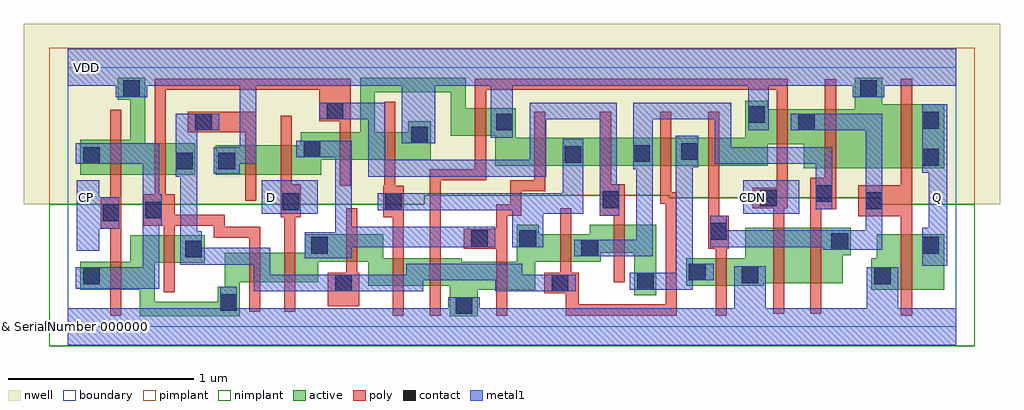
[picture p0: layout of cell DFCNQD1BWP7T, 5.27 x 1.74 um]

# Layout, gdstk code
import gdstk
lib = gdstk.Library(unit=1e-6, precision=1e-09)
def R(c, l, rs):  # rectangles x0, y0, x1, y1
    for r in rs: c.add(gdstk.rectangle(r[:2], r[2:], *l))
def P(c, l, *ps):  # polygons
    for p in ps: c.add(gdstk.Polygon(p, *l))
nwell = (3, 0)
active = (6, 0)
poly = (17, 0)
pimplant = (25, 0)
nimplant = (26, 0)
contact = (30, 0)
metal1 = (31, 0)
boundary = (108, 0)

dfcnqd1bwp7t = lib.new_cell('DFCNQD1BWP7T')
P(dfcnqd1bwp7t, nwell, [(-0.235,0.66),(-0.235,1.635),(5.035,1.635),(5.035,0.66),(4.385,0.66),(4.385,0.695),(3.25,0.695),(3.25,0.71),(1.925,0.71),(1.925,0.66)])
P(dfcnqd1bwp7t, active, [(3.34,0.22),(3.34,0.37),(3.66,0.37),(3.66,0.535),(4.23,0.535),(4.23,0.385),(4.185,0.385),(4.185,0.235),(3.76,0.235),(3.76,0.22)],
  [(4.34,0.2),(4.34,0.37),(4.37,0.37),(4.37,0.5),(4.735,0.5),(4.735,0.2)],
  [(0.8,0.82),(0.8,0.98),(1.26,0.98),(1.26,1.05),(1.58,1.05),(1.58,1.345),(2.15,1.345),(2.15,1.18),(2.42,1.18),(2.42,1.02),(3.66,1.02),(3.66,1.22),(3.78,1.22),(3.78,1.175),(4.25,1.175),(4.25,1.345),(4.4,1.345),(4.4,1.2),(4.735,1.2),(4.735,0.855),(3.975,0.855),(3.975,0.985),(3.78,0.985),(3.78,0.87),(2.31,0.87),(2.31,1.03),(2.07,1.03),(2.07,1.265),(1.66,1.265),(1.66,1.05),(1.84,1.05),(1.84,1.11),(1.96,1.11),(1.96,0.9),(1.37,0.9),(1.37,0.82)],
  [(0.39,0.055),(0.39,0.2),(0.07,0.2),(0.07,0.35),(0.34,0.35),(0.34,0.495),(0.74,0.495),(0.74,0.345),(0.47,0.345),(0.47,0.135),(0.81,0.135),(0.81,0.215),(0.85,0.215),(0.85,0.4),(1.28,0.4),(1.28,0.5),(1.705,0.5),(1.705,0.37),(2.13,0.37),(2.13,0.35),(2.425,0.35),(2.425,0.55),(2.545,0.55),(2.545,0.5),(2.82,0.5),(2.82,0.55),(3.18,0.55),(3.18,0.17),(3.06,0.17),(3.06,0.4),(2.88,0.4),(2.88,0.35),(2.525,0.35),(2.525,0.2),(2.215,0.2),(2.215,0.055),(2.065,0.055),(2.065,0.22),(1.625,0.22),(1.625,0.35),(1.355,0.35),(1.355,0.24),(0.93,0.24),(0.93,0.055)],
  [(0.07,0.82),(0.07,1.01),(0.34,1.01),(0.34,1.225),(0.27,1.225),(0.27,1.345),(0.42,1.345),(0.42,0.99),(0.69,0.99),(0.69,0.82)])
P(dfcnqd1bwp7t, poly, [(0.23,0.06),(0.23,0.53),(0.18,0.53),(0.18,0.7),(0.23,0.7),(0.23,1.17),(0.29,1.17),(0.29,0.06)],
  [(0.96,0.68),(0.96,1.05),(0.65,1.05),(0.65,1.16),(1.02,1.16),(1.02,0.68)],
  [(1.17,0.08),(1.17,0.59),(1.15,0.59),(1.15,1.14),(1.21,1.14),(1.21,0.77),(1.26,0.77),(1.26,0.59),(1.23,0.59),(1.23,0.08)],
  [(1.755,0.06),(1.755,0.59),(1.705,0.59),(1.705,0.76),(1.71,0.76),(1.71,1.215),(1.77,1.215),(1.77,0.76),(1.815,0.76),(1.815,0.06)],
  [(2.315,0.06),(2.315,0.42),(2.14,0.42),(2.14,0.53),(2.315,0.53),(2.315,0.66),(2.39,0.66),(2.39,0.79),(2.52,0.79),(2.52,1.16),(2.58,1.16),(2.58,0.73),(2.45,0.73),(2.45,0.6),(2.375,0.6),(2.375,0.06)],
  [(2.875,0.6),(2.875,1.16),(2.935,1.16),(2.935,0.77),(3.01,0.77),(3.01,0.24),(2.95,0.24),(2.95,0.6)],
  [(2.69,0.06),(2.69,0.18),(2.575,0.18),(2.575,0.29),(2.66,0.29),(2.66,0.64),(2.72,0.64),(2.72,0.29),(2.76,0.29),(2.76,0.12),(3.23,0.12),(3.23,0.665),(3.2,0.665),(3.2,1.16),(3.26,1.16),(3.26,0.725),(3.29,0.725),(3.29,0.06)],
  [(3.5,0.06),(3.5,0.42),(3.46,0.42),(3.46,1.16),(3.52,1.16),(3.52,0.6),(3.57,0.6),(3.57,0.42),(3.56,0.42),(3.56,0.06)],
  [(4.01,0.07),(4.01,0.805),(4.09,0.805),(4.09,1.335),(4.15,1.335),(4.15,0.635),(4.07,0.635),(4.07,0.07)],
  [(4.5,0.06),(4.5,0.595),(4.27,0.595),(4.27,0.765),(4.5,0.765),(4.5,1.34),(4.56,1.34),(4.56,0.06)],
  [(0.52,0.185),(0.52,0.545),(0.41,0.545),(0.41,0.715),(0.47,0.715),(0.47,1.34),(1.53,1.34),(1.53,0.76),(1.47,0.76),(1.47,1.11),(1.36,1.11),(1.36,1.28),(0.53,1.28),(0.53,0.715),(0.58,0.715),(0.58,0.605),(0.85,0.605),(0.85,0.54),(1.04,0.54),(1.04,0.08),(0.98,0.08),(0.98,0.48),(0.79,0.48),(0.79,0.545),(0.58,0.545),(0.58,0.185)],
  [(1.405,0.11),(1.405,0.29),(1.505,0.29),(1.505,0.64),(1.565,0.64),(1.565,0.29),(1.575,0.29),(1.575,0.11)],
  [(1.955,0.06),(1.955,0.85),(2.2,0.85),(2.2,1.34),(3.89,1.34),(3.89,0.64),(3.87,0.64),(3.87,0.07),(3.81,0.07),(3.81,0.64),(3.7,0.64),(3.7,0.75),(3.83,0.75),(3.83,1.28),(2.26,1.28),(2.26,0.79),(2.015,0.79),(2.015,0.06)])
P(dfcnqd1bwp7t, pimplant, [(-0.1,0.66),(-0.1,1.505),(4.9,1.505),(4.9,0.66),(4.385,0.66),(4.385,0.695),(3.25,0.695),(3.25,0.71),(1.925,0.71),(1.925,0.66)])
P(dfcnqd1bwp7t, nimplant, [(-0.1,-0.105),(-0.1,0.66),(1.925,0.66),(1.925,0.71),(3.25,0.71),(3.25,0.695),(4.385,0.695),(4.385,0.66),(4.9,0.66),(4.9,-0.105)])
R(dfcnqd1bwp7t, contact, [(2.095,0.07,2.185,0.16), (0.825,0.085,0.915,0.175), (1.445,0.19,1.535,0.28), (2.615,0.19,2.705,0.28), (3.075,0.2,3.165,0.29), (0.085,0.23,0.175,0.32), (4.355,0.23,4.445,0.32), (3.64,0.235,3.73,0.325), (3.355,0.25,3.445,0.34), (0.635,0.375,0.725,0.465), (2.775,0.38,2.865,0.47), (1.315,0.395,1.405,0.485), (4.615,0.395,4.705,0.485), (4.125,0.415,4.215,0.505), (2.18,0.43,2.27,0.52), (2.44,0.43,2.53,0.52), (3.47,0.47,3.56,0.56), (0.19,0.57,0.28,0.66), (0.42,0.585,0.51,0.675), (1.16,0.63,1.25,0.72), (1.715,0.63,1.805,0.72), (4.31,0.635,4.4,0.725), (2.89,0.64,2.98,0.73), (3.74,0.65,3.83,0.74), (4.04,0.675,4.13,0.765), (0.585,0.85,0.675,0.94), (0.815,0.85,0.905,0.94), (4.615,0.87,4.705,0.96), (0.085,0.88,0.175,0.97), (2.685,0.885,2.775,0.975), (3.055,0.89,3.145,0.98), (3.315,0.9,3.405,0.99), (1.275,0.915,1.365,1.005), (1.855,0.99,1.945,1.08), (0.69,1.06,0.78,1.15), (2.315,1.06,2.405,1.15), (3.945,1.06,4.035,1.15), (4.615,1.07,4.705,1.16), (3.675,1.1,3.765,1.19), (1.4,1.12,1.49,1.21), (0.3,1.24,0.39,1.33), (4.28,1.24,4.37,1.33)])
R(dfcnqd1bwp7t, metal1, [(1.05,0.61,1.35,0.79), (3.65,0.61,3.95,0.79)])
P(dfcnqd1bwp7t, metal1, [(0.79,0.825),(0.79,0.97),(0.93,0.97),(0.93,1.3),(0.43,1.3),(0.43,1.24),(0.26,1.24),(0.26,1.3),(0,1.3),(0,1.5),(4.8,1.5),(4.8,1.3),(4.41,1.3),(4.41,1.24),(4.24,1.24),(4.24,1.3),(3.785,1.3),(3.785,1.06),(3.675,1.06),(3.675,1.3),(2.405,1.3),(2.405,1.02),(2.285,1.02),(2.285,1.3),(1.985,1.3),(1.985,0.99),(1.805,0.99),(1.805,1.3),(1.02,1.3),(1.02,0.88),(0.93,0.88),(0.93,0.825)],
  [(0.05,0.41),(0.05,0.79),(0.17,0.79),(0.17,0.7),(0.28,0.7),(0.28,0.53),(0.17,0.53),(0.17,0.41)],
  [(0.045,0.205),(0.045,0.32),(0.405,0.32),(0.405,0.88),(0.045,0.88),(0.045,0.99),(0.495,0.99),(0.495,0.715),(0.51,0.715),(0.51,0.545),(0.495,0.545),(0.495,0.205)],
  [(1.28,0.37),(1.28,0.51),(1.445,0.51),(1.445,0.915),(1.235,0.915),(1.235,1.005),(1.535,1.005),(1.535,0.54),(2.31,0.54),(2.31,0.43),(1.535,0.43),(1.535,0.37)],
  [(2.4,0.43),(2.4,0.63),(1.675,0.63),(1.675,0.72),(2.675,0.72),(2.675,1.015),(2.785,1.015),(2.785,0.61),(2.57,0.61),(2.57,0.43)],
  [(3.035,0.2),(3.035,0.29),(3.285,0.29),(3.285,1.03),(3.405,1.03),(3.405,0.86),(3.375,0.86),(3.375,0.34),(3.49,0.34),(3.49,0.25),(3.375,0.25),(3.375,0.2)],
  [(4.615,0.33),(4.615,0.535),(4.65,0.535),(4.65,0.83),(4.615,0.83),(4.615,1.2),(4.75,1.2),(4.75,0.33)],
  [(0.61,0.335),(0.61,0.81),(0.585,0.81),(0.585,1.15),(0.82,1.15),(0.82,1.06),(0.7,1.06),(0.7,0.515),(0.725,0.515),(0.725,0.425),(1.095,0.425),(1.095,0.28),(1.83,0.28),(1.83,0.34),(2.455,0.34),(2.455,0.28),(2.745,0.28),(2.745,0.19),(2.31,0.19),(2.31,0.25),(1.92,0.25),(1.92,0.19),(1.005,0.19),(1.005,0.335)],
  [(1.625,0.81),(1.625,1.12),(1.36,1.12),(1.36,1.21),(1.715,1.21),(1.715,0.9),(2.495,0.9),(2.495,1.21),(2.965,1.21),(2.965,0.77),(2.98,0.77),(2.98,0.6),(2.875,0.6),(2.875,1.12),(2.585,1.12),(2.585,0.81)],
  [(2.735,0.38),(2.735,0.47),(3.07,0.47),(3.07,0.85),(3.055,0.85),(3.055,1.21),(3.585,1.21),(3.585,0.97),(4.13,0.97),(4.13,0.635),(4.04,0.635),(4.04,0.88),(3.495,0.88),(3.495,1.12),(3.16,1.12),(3.16,0.38)],
  [(4.08,0.415),(4.08,0.43),(3.47,0.43),(3.47,0.6),(3.56,0.6),(3.56,0.52),(4.31,0.52),(4.31,1.06),(3.905,1.06),(3.905,1.15),(4.4,1.15),(4.4,0.415)],
  [(0,-0.1),(0,0.1),(0.825,0.1),(0.825,0.215),(0.915,0.215),(0.915,0.1),(2.055,0.1),(2.055,0.16),(2.225,0.16),(2.225,0.1),(3.6,0.1),(3.6,0.325),(3.77,0.325),(3.77,0.1),(4.315,0.1),(4.315,0.32),(4.485,0.32),(4.485,0.1),(4.8,0.1),(4.8,-0.1)])
R(dfcnqd1bwp7t, boundary, [(0,0,4.8,1.4)])
dfcnqd1bwp7t.add(gdstk.Label('& SerialNumber 000000', (0,0), layer=63, texttype=63))
dfcnqd1bwp7t.add(gdstk.Label('& Distributor TSMC', (0,0), layer=63, texttype=63))
dfcnqd1bwp7t.add(gdstk.Label('& Metric 6.720', (0,0), layer=63, texttype=63))
dfcnqd1bwp7t.add(gdstk.Label('& _Instance_tag DFCNQD1BWP7T', (0,0), layer=63, texttype=63))
dfcnqd1bwp7t.add(gdstk.Label('& Version 141a', (0,0), layer=63, texttype=63))
dfcnqd1bwp7t.add(gdstk.Label('& Product tcbn65lpbwp7t', (0,0), layer=63, texttype=63))
dfcnqd1bwp7t.add(gdstk.Label('& Vendor Taiwan Semiconductor Manufacturing Corp.', (0,0), layer=63, texttype=63))
dfcnqd1bwp7t.add(gdstk.Label('& SerialNumber 000000', (0,0), layer=6, texttype=0))
dfcnqd1bwp7t.add(gdstk.Label('& Distributor TSMC', (0,0), layer=6, texttype=0))
dfcnqd1bwp7t.add(gdstk.Label('& Metric 6.720', (0,0), layer=6, texttype=0))
dfcnqd1bwp7t.add(gdstk.Label('& _Instance_tag DFCNQD1BWP7T', (0,0), layer=6, texttype=0))
dfcnqd1bwp7t.add(gdstk.Label('& Version 141a', (0,0), layer=6, texttype=0))
dfcnqd1bwp7t.add(gdstk.Label('& Product tcbn65lpbwp7t', (0,0), layer=6, texttype=0))
dfcnqd1bwp7t.add(gdstk.Label('& Vendor Taiwan Semiconductor Manufacturing Corp.', (0,0), layer=6, texttype=0))
dfcnqd1bwp7t.add(gdstk.Label('D', (1.1,0.7), layer=131, texttype=0))
dfcnqd1bwp7t.add(gdstk.Label('CP', (0.1,0.7), layer=131, texttype=0))
dfcnqd1bwp7t.add(gdstk.Label('VDD', (0.1,1.4), layer=131, texttype=0))
dfcnqd1bwp7t.add(gdstk.Label('VSS', (0.1,0), layer=131, texttype=0))
dfcnqd1bwp7t.add(gdstk.Label('Q', (4.7,0.7), layer=131, texttype=0))
dfcnqd1bwp7t.add(gdstk.Label('CDN', (3.7,0.7), layer=131, texttype=0))
dfcnqd1bwp7t.add(gdstk.Label('DFCNQD1BWP7T', (0,0), layer=127, texttype=0))

lib.write_gds('DFCNQD1BWP7T.gds')
